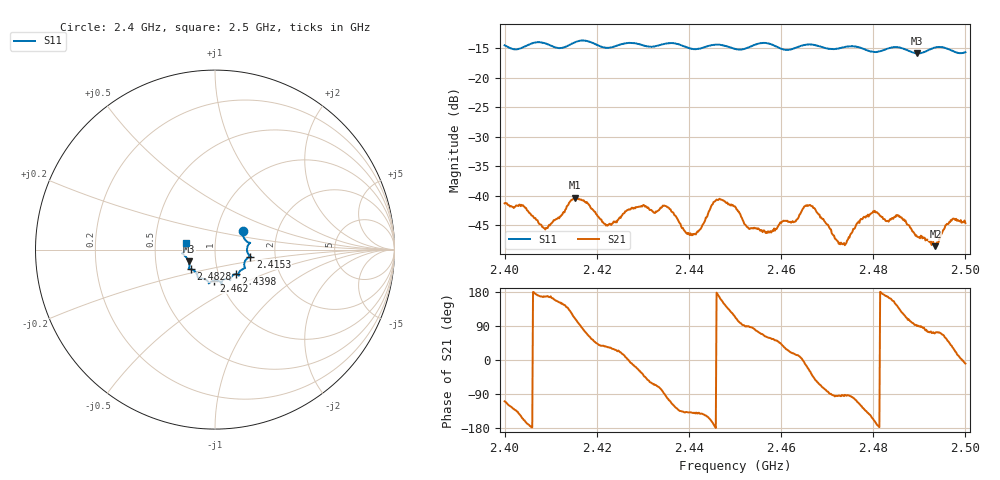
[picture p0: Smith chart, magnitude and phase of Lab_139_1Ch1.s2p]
# Hz S RI R 50
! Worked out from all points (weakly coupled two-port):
!   601 points, 2.4 GHz to 2.5 GHz, reference 50 ohm
!   highest |S21| = -40.33 dB at 2.4153 GHz (marker M1); lowest = -48.5 dB at 2.4935 GHz (marker M2)
!   lowest |S11| = -15.9 dB at 2.4895 GHz (marker M3), VSWR 1.38, Z = 37 - j5.02 ohm
!   |S11| at or under -10 dB: start of sweep to end of sweep
!   S12 and S22 are empty: the file has one direction only
!   S11 on the Smith chart (normalised r, x): 2.4 GHz: 1.33, +0.29; 2.4153 GHz: 1.48, -0.12; 2.4398 GHz: 1.21, -0.34; 2.462 GHz: 0.93, -0.33; 2.4828 GHz: 0.74, -0.17; 2.5 GHz: 0.72, +0.06
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2.4e9  0.1551 0.106  -0.00282 -0.00817  0 0  0 0
2.408833e9  0.1924 0.0348  -0.00506 0.00115  0 0  0 0
2.415333e9  0.1962 -0.0387  -0.00316 0.00909  0 0  0 0
2.416667e9  0.2021 -0.0428  0.000574 0.00928  0 0  0 0
2.422167e9  0.1666 -0.0658  0.00467 0.00326  0 0  0 0
2.433333e9  0.1312 -0.1336  0.00251 -0.00707  0 0  0 0
2.4355e9  0.1319 -0.1446  -0.00175 -0.00778  0 0  0 0
2.439833e9  0.1157 -0.1362  -0.00362 -0.00322  0 0  0 0
2.445833e9  0.0848 -0.1707  -0.00916 -8.42e-05  0 0  0 0
2.45e9  0.065 -0.1627  -0.00332 0.00743  0 0  0 0
2.453167e9  0.0371 -0.1782  0.000281 0.00523  0 0  0 0
2.462e9  -0.0053 -0.1731  0.00562 0.00217  0 0  0 0
2.466667e9  -0.0345 -0.1877  0.00638 -0.0051  0 0  0 0
2.473e9  -0.0802 -0.1599  -0.000376 -0.004  0 0  0 0
2.479833e9  -0.1084 -0.1251  -0.00646 -0.0032  0 0  0 0
2.482833e9  -0.1362 -0.1095  -0.00599 0.00115  0 0  0 0
2.483333e9  -0.1399 -0.1092  -0.00583 0.00158  0 0  0 0
2.485833e9  -0.1456 -0.1052  -0.00443 0.00498  0 0  0 0
2.4895e9  -0.1461 -0.0662  3.5e-05 0.00453  0 0  0 0
2.4935e9  -0.1788 -0.0249  0.00112 0.00358  0 0  0 0
2.497e9  -0.1699 -0.00729  0.00487 0.0038  0 0  0 0
2.5e9  -0.1598 0.0388  0.0058 -0.000962  0 0  0 0
